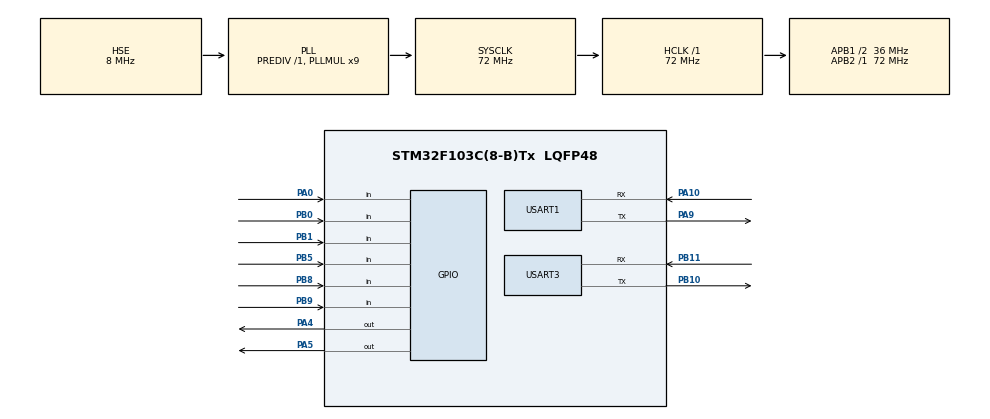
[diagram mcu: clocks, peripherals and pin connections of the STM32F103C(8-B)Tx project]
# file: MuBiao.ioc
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Mcu.Family=STM32F1
Mcu.Name=STM32F103C(8-B)Tx
Mcu.Package=LQFP48
NVIC.PriorityGroup=NVIC_PRIORITYGROUP_4
NVIC.TIM2_IRQn=true\:0\:0\:false\:false\:true\:true\:true\:true
NVIC.USART1_IRQn=true\:0\:0\:false\:false\:true\:true\:true\:true
NVIC.USART3_IRQn=true\:0\:0\:false\:false\:true\:true\:true\:true
PA0-WKUP.GPIO_PuPd=GPIO_PULLUP
PA0-WKUP.Signal=GPIO_Input
PA10.Mode=Asynchronous
PA10.Signal=USART1_RX
PA13.Mode=Serial_Wire
PA13.Signal=SYS_JTMS-SWDIO
PA14.Mode=Serial_Wire
PA14.Signal=SYS_JTCK-SWCLK
PA4.GPIO_ModeDefaultOutputPP=GPIO_MODE_OUTPUT_OD
PA4.GPIO_PuPd=GPIO_PULLUP
PA4.Signal=GPIO_Output
PA5.GPIO_ModeDefaultOutputPP=GPIO_MODE_OUTPUT_OD
PA5.GPIO_PuPd=GPIO_PULLUP
PA5.Signal=GPIO_Output
PA9.Mode=Asynchronous
PA9.Signal=USART1_TX
PB0.GPIO_PuPd=GPIO_PULLUP
PB0.Signal=GPIO_Input
PB1.GPIO_PuPd=GPIO_PULLUP
PB1.Signal=GPIO_Input
PB10.Mode=Asynchronous
PB10.Signal=USART3_TX
PB11.Mode=Asynchronous
PB11.Signal=USART3_RX
PB5.GPIO_PuPd=GPIO_PULLUP
PB5.Signal=GPIO_Input
PB8.GPIO_PuPd=GPIO_PULLUP
PB8.Signal=GPIO_Input
PB9.GPIO_PuPd=GPIO_PULLUP
PB9.Signal=GPIO_Input
PD0-OSC_IN.Mode=HSE-External-Oscillator
PD0-OSC_IN.Signal=RCC_OSC_IN
PD1-OSC_OUT.Mode=HSE-External-Oscillator
PD1-OSC_OUT.Signal=RCC_OSC_OUT
ProjectManager.HeapSize=0x200
ProjectManager.StackSize=0x400
ProjectManager.TargetToolchain=MDK-ARM V5.32
RCC.AHBFreq_Value=72000000
RCC.APB1CLKDivider=RCC_HCLK_DIV2
RCC.APB1Freq_Value=36000000
RCC.APB1TimFreq_Value=72000000
RCC.APB2Freq_Value=72000000
RCC.APB2TimFreq_Value=72000000
RCC.HCLKFreq_Value=72000000
RCC.PLLMUL=RCC_PLL_MUL9
RCC.PLLSourceVirtual=RCC_PLLSOURCE_HSE
RCC.SYSCLKFreq_VALUE=72000000
RCC.SYSCLKSource=RCC_SYSCLKSOURCE_PLLCLK
RCC.USBFreq_Value=72000000
TIM2.Period=1000-1
TIM2.Prescaler=72-1
USART1.VirtualMode=VM_ASYNC
USART3.VirtualMode=VM_ASYNC
VP_TIM2_VS_ClockSourceINT.Mode=Internal
board=custom

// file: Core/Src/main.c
/* USER CODE BEGIN Header */
/**
  ******************************************************************************
  * @file           : main.c
  * @brief          : Main program body
  ******************************************************************************
  * @attention
  *
  * Copyright (c) 2025 STMicroelectronics.
  * All rights reserved.
  *
  * This software is licensed under terms that can be found in the LICENSE file
  * in the root directory of this software component.
  * If no LICENSE file comes with this software, it is provided AS-IS.
  *
  ******************************************************************************
  */
/* USER CODE END Header */
#include "main.h"
#include "tim.h"
#include "usart.h"
#include "gpio.h"

/* USER CODE BEGIN Includes */
#include "fashion_star_uart_servo.h"
#include "Tick.h"
#include "OLED.h"
#include "Work.h"
/* USER CODE END Includes */

/* USER CODE BEGIN PV */
int fputc(int ch,FILE *f)

{
    HAL_UART_Transmit(&huart1,(uint8_t *)&ch,1,50);

return ch;

}
uint8_t ucTemp2;
uint8_t Rx_1_Data;
/* USER CODE END PV */

void SystemClock_Config(void);

/* USER CODE BEGIN 0 */
float curAngle = 0;
/* USER CODE END 0 */

int main(void)
{

  /* MCU Configuration--------------------------------------------------------*/

  /* Reset of all peripherals, Initializes the Flash interface and the Systick. */
  HAL_Init();

  /* Configure the system clock */
  SystemClock_Config();

  /* Initialize all configured peripherals */
  MX_GPIO_Init();
  MX_TIM2_Init();
  MX_USART3_UART_Init();
  MX_USART1_UART_Init();
  /* USER CODE BEGIN 2 */
    HAL_TIM_Base_Start_IT(&htim2);
    HAL_UART_Receive_IT(&huart3,&ucTemp2, sizeof(ucTemp2));
    HAL_UART_Receive_IT(&huart1,&Rx_1_Data,1);
    Tick_DelayMs(1000);

    OLED_Init();

  /* USER CODE END 2 */

  /* Infinite loop */
  /* USER CODE BEGIN WHILE */
  while (1)
  {

        All_Work();

//       Change_Star_coordinate();
    /* USER CODE END WHILE */

  }
}

void SystemClock_Config(void)
{
  RCC_OscInitTypeDef RCC_OscInitStruct = {0};
  RCC_ClkInitTypeDef RCC_ClkInitStruct = {0};

  /** Initializes the RCC Oscillators according to the specified parameters
  * in the RCC_OscInitTypeDef structure.
  */
  RCC_OscInitStruct.OscillatorType = RCC_OSCILLATORTYPE_HSE;
  RCC_OscInitStruct.HSEState = RCC_HSE_ON;
  RCC_OscInitStruct.HSEPredivValue = RCC_HSE_PREDIV_DIV1;
  RCC_OscInitStruct.HSIState = RCC_HSI_ON;
  RCC_OscInitStruct.PLL.PLLState = RCC_PLL_ON;
  RCC_OscInitStruct.PLL.PLLSource = RCC_PLLSOURCE_HSE;
  RCC_OscInitStruct.PLL.PLLMUL = RCC_PLL_MUL9;
  if (HAL_RCC_OscConfig(&RCC_OscInitStruct) != HAL_OK)
  {
    Error_Handler();
  }

  /** Initializes the CPU, AHB and APB buses clocks
  */
  RCC_ClkInitStruct.ClockType = RCC_CLOCKTYPE_HCLK|RCC_CLOCKTYPE_SYSCLK
                              |RCC_CLOCKTYPE_PCLK1|RCC_CLOCKTYPE_PCLK2;
  RCC_ClkInitStruct.SYSCLKSource = RCC_SYSCLKSOURCE_PLLCLK;
  RCC_ClkInitStruct.AHBCLKDivider = RCC_SYSCLK_DIV1;
  RCC_ClkInitStruct.APB1CLKDivider = RCC_HCLK_DIV2;
  RCC_ClkInitStruct.APB2CLKDivider = RCC_HCLK_DIV1;

  if (HAL_RCC_ClockConfig(&RCC_ClkInitStruct, FLASH_LATENCY_2) != HAL_OK)
  {
    Error_Handler();
  }
}

/* USER CODE BEGIN 4 */
uint8_t Rx_Pointer=0;
uint8_t Packet_type=0xFF;
uint8_t Mode_1_Package[4] = {0};
uint8_t Mode_3_1_Package[10] = {0};
uint8_t Mode_3_2_Package[4] = {0};
void HAL_UART_RxCpltCallback(UART_HandleTypeDef *huart)
{
    if(huart->Instance == USART1)
    {
        HAL_UART_Receive_IT(&huart1,&Rx_1_Data,1);

        //包头
        if( Rx_1_Data == 0xFF)
        {
            Rx_Pointer=0;
            Packet_type = 0;
        }
        //确定数据包
        if( Rx_1_Data == 0xF1 && Packet_type == 0)
        {
            Packet_type = 1;
        }
        if( Rx_1_Data == 0xF2 && Packet_type == 0)
        {
            Packet_type = 2;
        }
        if( Rx_1_Data == 0xF3 && Packet_type == 0)
        {
            Packet_type = 3;
        }

        if(Packet_type == 1)
        {
            Mode_1_Package[Rx_Pointer] = Rx_1_Data;
            Rx_Pointer++;
        }
        if(Packet_type == 2)
        {
            Mode3_Save_Data_flag = 1;
            Mode_3_1_Package[Rx_Pointer] = Rx_1_Data;
            Rx_Pointer++;
        }
        if(Packet_type == 3)
        {
            Mode_3_2_Package[Rx_Pointer] = Rx_1_Data;
            Rx_Pointer++;
        }

        //包尾
        if(Rx_1_Data == 0xFC)
        {
            Rx_Pointer=0;
            Packet_type=0xFF;
        }

    }

    //������
    if(huart->Instance == USART3)
    {
        HAL_UART_Receive_IT(&huart3,&ucTemp2, sizeof(ucTemp2));
        RingBuffer_Push(usart1.recvBuf, ucTemp2);
    }

}
void HAL_TIM_PeriodElapsedCallback(TIM_HandleTypeDef *htim){
    if(htim->Instance == TIM2){
         if(TickCnt > 0){
             TickCnt--;
         }
         else{
             TickCnt = 0;
         }
    }
}
/* USER CODE END 4 */

void Error_Handler(void)
{
  __disable_irq();
  while (1)
  {
  }
}
